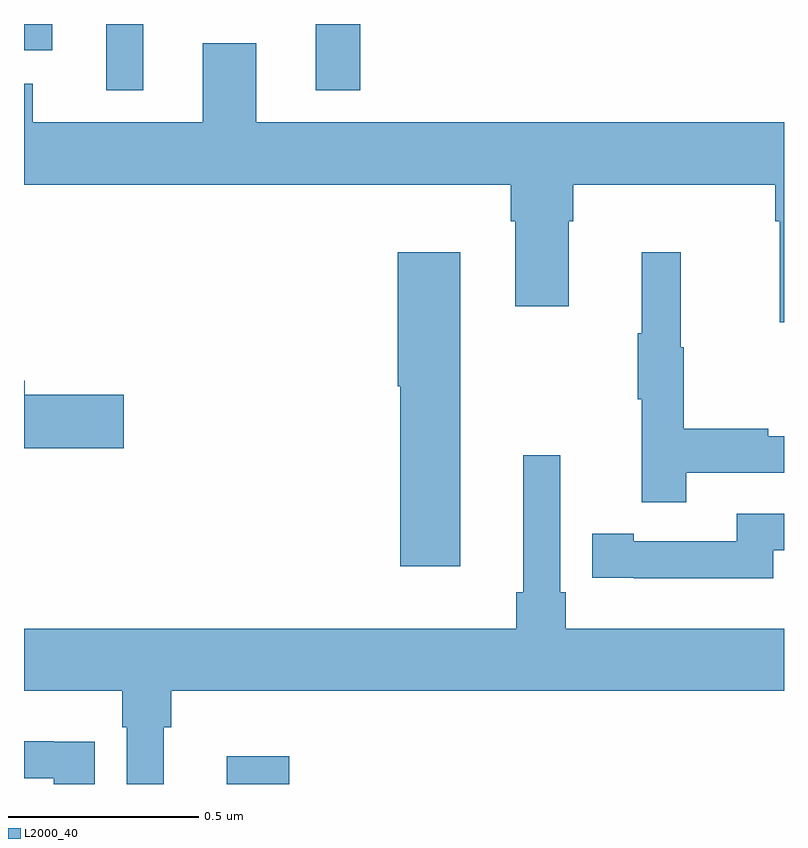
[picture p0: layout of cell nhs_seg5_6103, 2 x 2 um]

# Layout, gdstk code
import gdstk
lib = gdstk.Library(unit=1e-6, precision=1e-09)
def R(c, l, rs):  # rectangles x0, y0, x1, y1
    for r in rs: c.add(gdstk.rectangle(r[:2], r[2:], *l))
def P(c, l, *ps):  # polygons
    for p in ps: c.add(gdstk.Polygon(p, *l))
L2000_40 = (2000, 40)

nhs_seg5_6103 = lib.new_cell('nhs_seg5_6103')
R(nhs_seg5_6103, L2000_40, [(191.534,905.799,191.698,905.872), (191.216,907.625,191.314,907.799), (191.768,907.625,191.885,907.799), (191,907.73,191.074,907.799)])
P(nhs_seg5_6103, L2000_40, [(193,907.54),(191.611,907.54),(191.611,907.748),(191.471,907.748),(191.471,907.54),(191.023,907.54),(191.023,907.642),(191,907.642),(191,907.376),(192.281,907.376),(192.281,907.28),(192.293,907.28),(192.293,907.056),(192.433,907.056),(192.433,907.28),(192.446,907.28),(192.446,907.376),(192.977,907.376),(192.977,907.28),(192.989,907.28),(192.989,907.014),(193,907.014)],
  [(192.148,907.198),(191.984,907.198),(191.984,906.846),(191.99,906.846),(191.99,906.372),(192.148,906.372)],
  [(192.743,906.618),(193,906.618),(193,906.714),(192.959,906.714),(192.959,906.734),(192.736,906.734),(192.736,906.948),(192.728,906.948),(192.728,907.198),(192.626,907.198),(192.626,906.985),(192.615,906.985),(192.615,906.811),(192.626,906.811),(192.626,906.54),(192.743,906.54)],
  [(191.263,906.824),(191.002,906.824),(191.002,906.86),(191,906.86),(191,906.682),(191.263,906.682)],
  [(191.368,905.948),(191.387,905.948),(191.387,906.044),(193,906.044),(193,906.208),(192.425,906.208),(192.425,906.304),(192.411,906.304),(192.411,906.664),(192.314,906.664),(192.314,906.304),(192.295,906.304),(192.295,906.208),(191,906.208),(191,906.044),(191.258,906.044),(191.258,905.948),(191.271,905.948),(191.271,905.799),(191.368,905.799)],
  [(192.972,906.414),(193,906.414),(193,906.51),(192.876,906.51),(192.876,906.438),(192.604,906.438),(192.604,906.458),(192.496,906.458),(192.496,906.342),(192.604,906.342),(192.604,906.341),(192.972,906.341)],
  [(191.186,905.91),(191.078,905.91),(191.078,905.911),(191,905.911),(191,905.814),(191.078,905.814),(191.078,905.799),(191.186,905.799)])

lib.write_gds('nhs_seg5_6103.gds')
